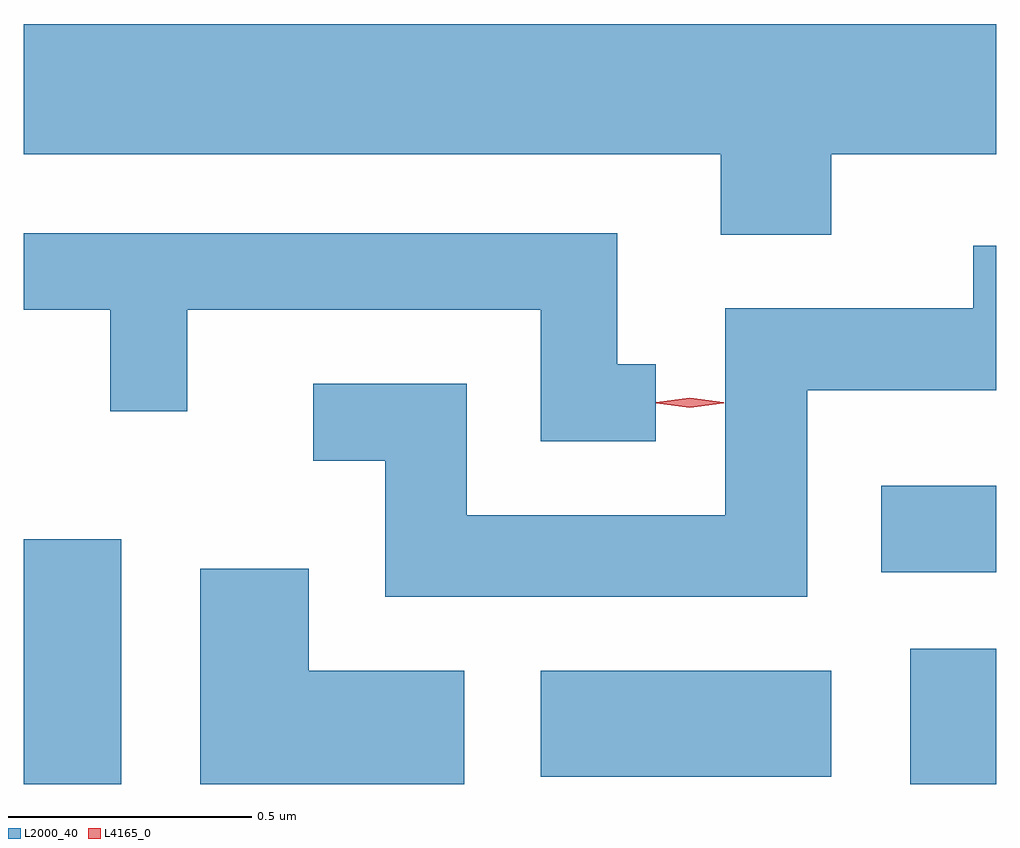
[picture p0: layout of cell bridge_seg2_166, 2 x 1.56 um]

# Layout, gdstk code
import gdstk
lib = gdstk.Library(unit=1e-6, precision=1e-09)
def R(c, l, rs):  # rectangles x0, y0, x1, y1
    for r in rs: c.add(gdstk.rectangle(r[:2], r[2:], *l))
def P(c, l, *ps):  # polygons
    for p in ps: c.add(gdstk.Polygon(p, *l))
L2000_40 = (2000, 40)
L4165_0 = (4165, 0)

bridge_seg2_166 = lib.new_cell('bridge_seg2_166')
R(bridge_seg2_166, L2000_40, [(681.188,1055.901,681.389,1056.404), (683.011,1055.901,683.188,1056.179), (682.251,1055.916,682.849,1056.134), (682.951,1056.336,683.188,1056.514)])
P(bridge_seg2_166, L2000_40, [(682.849,1057.196),(683.188,1057.196),(683.188,1057.464),(681.188,1057.464),(681.188,1057.196),(682.621,1057.196),(682.621,1057.031),(682.849,1057.031)],
  [(682.488,1056.764),(682.409,1056.764),(682.409,1057.034),(681.188,1057.034),(681.188,1056.876),(681.366,1056.876),(681.366,1056.668),(681.524,1056.668),(681.524,1056.876),(682.251,1056.876),(682.251,1056.606),(682.488,1056.606)],
  [(682.799,1056.711),(683.188,1056.711),(683.188,1057.008),(683.141,1057.008),(683.141,1056.879),(682.631,1056.879),(682.631,1056.454),(682.099,1056.454),(682.099,1056.724),(681.783,1056.724),(681.783,1056.566),(681.931,1056.566),(681.931,1056.286),(682.799,1056.286)],
  [(682.094,1056.134),(681.774,1056.134),(681.774,1056.344),(681.551,1056.344),(681.551,1055.901),(682.094,1055.901)])
P(bridge_seg2_166, L4165_0, [(682.558,1056.675),(682.489,1056.684),(682.489,1056.685),(682.489,1056.686),(682.558,1056.695),(682.628,1056.686),(682.628,1056.685),(682.628,1056.684)])

lib.write_gds('bridge_seg2_166.gds')
